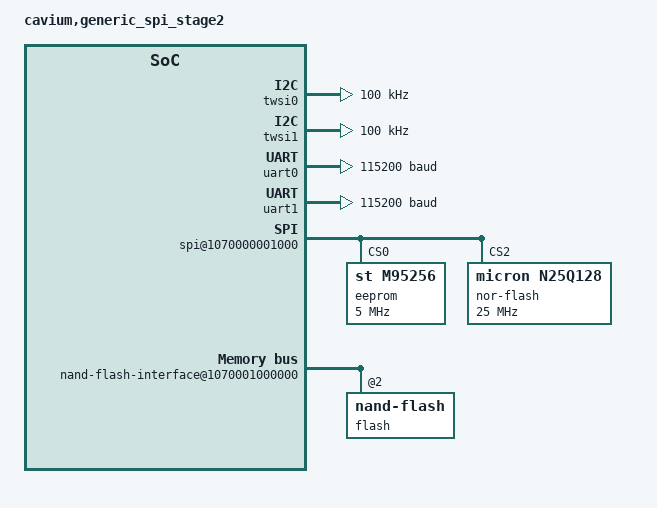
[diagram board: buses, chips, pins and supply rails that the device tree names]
/dts-v1/;
/*
 * Cavium Generic SPI stage 2
 */
/ {
	model = "cavium,generic_spi_stage2";
	compatible = "cavium,generic_spi_stage2";
	#address-cells = <2>;
	#size-cells = <2>;
	interrupt-parent = <&ciu>;

	soc@0 {
		compatible = "simple-bus";
		#address-cells = <2>;
		#size-cells = <2>;
		ranges; /* Direct mapping */

		ciu: interrupt-controller@1070000000000 {
			compatible = "cavium,octeon-3860-ciu";
			interrupt-controller;
			/* Interrupts are specified by two parts:
			 * 1) Controller register (0 or 1)
			 * 2) Bit within the register (0..63)
			 */
			#interrupt-cells = <2>;
			reg = <0x10700 0x00000000 0x0 0x7000>;
		};

		gpio: gpio-controller@1070000000800 {
			#gpio-cells = <2>;
			compatible = "cavium,octeon-3860-gpio";
			reg = <0x10700 0x00000800 0x0 0x100>;
			gpio-controller;
			/* Interrupts are specified by two parts:
			 * 1) GPIO pin number (0..15)
			 * 2) Triggering (1 - edge rising
			 *		  2 - edge falling
			 *		  4 - level active high
			 *		  8 - level active low)
			 */
			interrupt-controller;
			#interrupt-cells = <2>;
			/* The GPIO pins connect to 16 consecutive CUI bits */
			interrupts = <0 16>; /* <0 17> <0 18> <0 19>
				     <0 20> <0 21> <0 22> <0 23>
				     <0 24> <0 25> <0 26> <0 27>
				     <0 28> <0 29> <0 30> <0 31>; */
		};

		twsi0: i2c@1180000001000 {
			#address-cells = <1>;
			#size-cells = <0>;
			compatible = "cavium,octeon-3860-twsi";
			reg = <0x11800 0x00001000 0x0 0x200>;
			interrupts = <0 45>;
			clock-frequency = <100000>;
		};

		twsi1: i2c@1180000001200 {
			#address-cells = <1>;
			#size-cells = <0>;
			compatible = "cavium,octeon-3860-twsi";
			reg = <0x11800 0x00001200 0x0 0x200>;
			interrupts = <0 59>;
			clock-frequency = <100000>;
		};

		uart0: serial@1180000000800 {
			compatible = "cavium,octeon-3860-uart","ns16550";
			reg = <0x11800 0x00000800 0x0 0x400>;
			clock-frequency = <0>;
			current-speed = <115200>;
			reg-shift = <3>;
			interrupts = <0 34>;
		};

		uart1: serial@1180000000c00 {
			compatible = "cavium,octeon-3860-uart","ns16550";
			reg = <0x11800 0x00000c00 0x0 0x400>;
			clock-frequency = <0>;
			current-speed = <115200>;
			reg-shift = <3>;
			interrupts = <0 35>;
		};

		spi@1070000001000 {
			compatible = "cavium,octeon-3010-spi";
			reg = <0x10700 0x00001000 0x0 0x100>;
			interrupts = <0 58>;
			#address-cells = <1>;
			#size-cells = <0>;

			eeprom@0 {
				compatible = "st,m95256", "atmel,at25";
				reg = <0>;
				spi-max-frequency = <5000000>;
				spi-cpha;
				spi-cpol;

				pagesize = <64>;
				size = <32768>;
				address-width = <16>;
				cavium,qlm-trim = "9,eeprom";
			};

			nor-flash@2 {
				compatible = "micron,n25q128";
				reg = <2>;
				spi-max-frequency = <25000000>;
				spi-cpha;
				spi-cpol;
				pagesize = <256>;
				size = <0x1000000>;
				address-width = <24>;
			};
		};

		nand-flash-interface@1070001000000 {
			compatible = "cavium,octeon-5230-nand";
			reg = <0x10700 0x01000000 0x0 0x100>,
				<0x11800 0x00000168 0x0 0x20>;
			#address-cells = <1>;
			#size-cells = <0>;
			interrupts = <0 63>;

			flash@2 {
				compatible = "nand-flash";
				reg = <2>;
				/* soft_bch is used to support multi-bit ECC */
				nand-ecc-mode = "hw_syndrome";

				/* Number of bytes of data to perform ECC over */
				nand-ecc-size = <1024>;

				/* nand-ecc-size and nand-ecc-bytes are
				 * calculated based on the error management
				 * requirements of the NAND device.
				 *
				 * For example, if a device says it requires
				 * 12 bits of ECC per 540 bytes then
				 * nand-ecc-size would be set to 512.
				 *
				 * nand-ecc-bytes is calculated based on the
				 * requirements for the Galios field order.
				 * There are two variables involved, m and t.
				 *
				 * m must be chosen such that:
				 *	(2^m) - 1 > (nand-ecc-size * 8)
				 * In the case of 512, m=13 since
				 * nand-ecc-size * 8 = 2^12.
				 *
				 * We need 12 bits of ecc per 512 bytes so t=12.
				 *
				 * nand-ecc-bytes = (m*t) / 8 rounded up so
				 * 19.5 = 20 bytes of ECC per 512 bytes.
				 *
				 * For 24 bits of ECC per 1024 bytes of data
				 * this works out to 42.  For 4 bits of ECC
				 * per 512 bytes this should be 7.
				 *
				 * If nand-ecc-size and nand-ecc-bytes are not
				 * specified then the default values of 512 and
				 * 7 will be used respectively, providing 4 bits
				 * of ecc per 512 bytes of data.
				 *
				 * Note that for booting purposes, OCTEON only
				 * supports 1 bit of ECC per 256 bytes which
				 * means that NAND devices requiring the
				 * extended ECC support cannot be used for
				 * booting purposes.
				 */
				nand-ecc-bytes = <42>;
				/* With of NAND on bus, OCTEON supports both 8
				 * and 16-bits
				 */
				nand-bus-width = <8>;
			};
		};

		dma0: dma-engine@1180000000100 {
			compatible = "cavium,octeon-5750-bootbus-dma";
			reg = <0x11800 0x00000100 0x0 0x8>;
			interrupts = <0 63>;
		};
		dma1: dma-engine@1180000000108 {
			compatible = "cavium,octeon-5750-bootbus-dma";
			reg = <0x11800 0x00000108 0x0 0x8>;
			interrupts = <0 63>;
		};
	};

	aliases {
		twsi0 = &twsi0;
		twsi1 = &twsi1;
		uart0 = &uart0;
		uart1 = &uart1;
	};
 };
